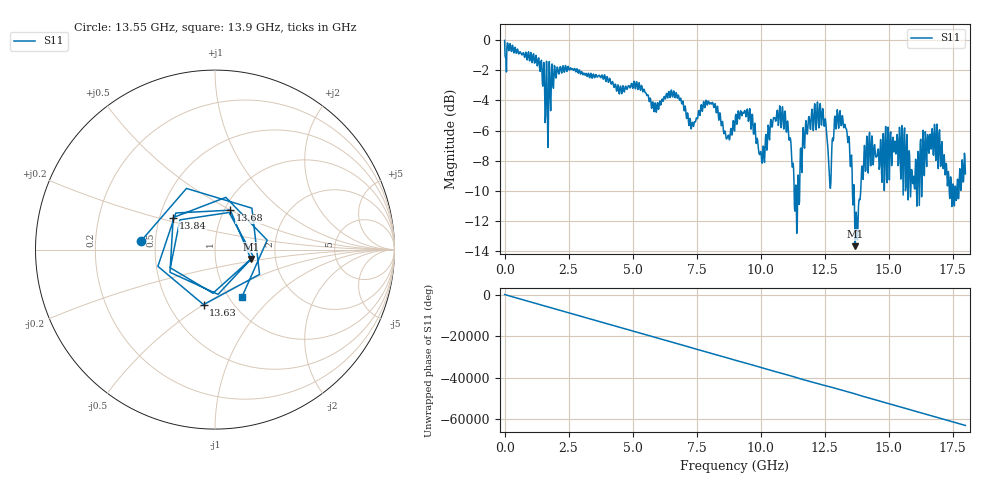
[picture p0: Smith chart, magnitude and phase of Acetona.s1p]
!Keysight Technologies N9917A: A.12.46
!Date: Friday, 22 December 2023 20:28:51
!TimeZone: (UTC-03:00) Buenos Aires!Model: N9917A
!Serial: MY56072049
!GPS Latitude:
!GPS Longitude:
!GPS TimeStamp: 0001-01-01 00:00:00Z
!GPS Seconds Since Last Read: 0
!CHECKSUM:0158743757
!Correction: S11(Rdy)
!S1P File: Measurement: S11:
# Hz S RI R 50
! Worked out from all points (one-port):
!   1001 points, 30 kHz to 18 GHz, reference 50 ohm
!   lowest |S11| = -13.7 dB at 13.7 GHz (marker M1), VSWR 1.52, Z = 74.5 - j8.23 ohm
!   |S11| at or under -10 dB: 11.3104 GHz to 11.36293 GHz (52.53 MHz wide, 0.463 % of centre); 11.38 GHz to 11.45 GHz (68.48 MHz wide, 0.6 % of centre); 13.65 GHz to 13.91 GHz (257.9 MHz wide, 1.87 % of centre) (the widest 3 of 16)
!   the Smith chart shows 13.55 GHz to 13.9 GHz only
!   S11 on the Smith chart (normalised r, x): 13.55 GHz: 0.41, +0.05; 13.63 GHz: 0.74, -0.50; 13.68 GHz: 1.07, +0.50; 13.84 GHz: 0.59, +0.23; 13.9 GHz: 1.15, -0.66
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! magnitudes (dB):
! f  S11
! 30 kHz  0.0
! 1.278 GHz  -1.7
! 1.638 GHz  -1.4
! 2.25 GHz  -2.0
! 4.5 GHz  -3.3
! 6.75 GHz  -3.9
! 9 GHz  -5.6
! 9.504 GHz  -4.9
! 10.06 GHz  -8.2
! 10.8 GHz  -5.8
! 11.25 GHz  -8.4
! 11.43 GHz  -12.5
! 11.74 GHz  -6.3
! 12.28 GHz  -5.8
! 12.69 GHz  -9.1
! 13.05 GHz  -5.8
! 13.5 GHz  -8.3
! 13.55 GHz  -7.6
! 13.63 GHz  -10.1
! 13.68 GHz  -12.6
! 13.7 GHz  -13.7
! 13.84 GHz  -10.6
! 13.9 GHz  -10.4
! 14.31 GHz  -8.3
! 15.75 GHz  -9.4
! 16.72 GHz  -6.5
! 17.55 GHz  -10.7
! 18 GHz  -8.9
